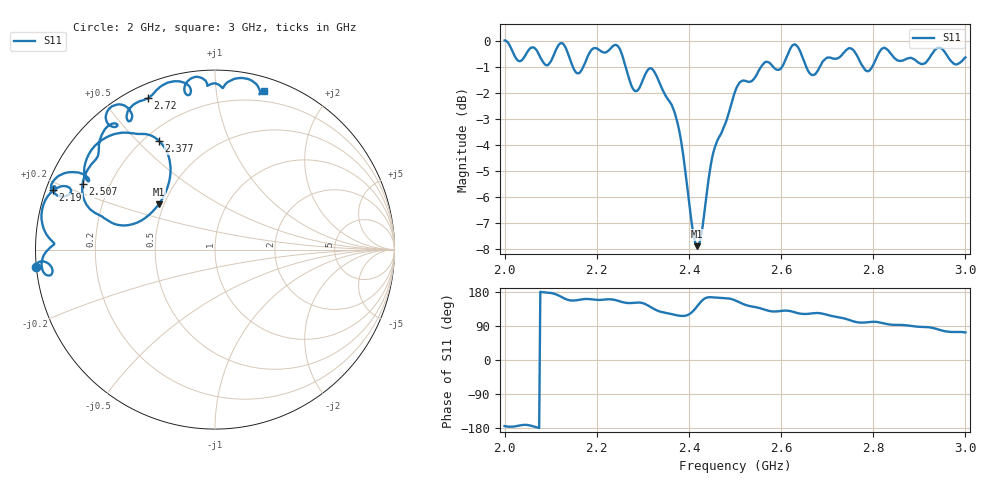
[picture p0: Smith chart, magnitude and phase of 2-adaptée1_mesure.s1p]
! ZVRE, 3.52
! symbol freq-unit parameter-type data-format keyword impedance-ohm
#  HZ  S  RI  R  50
! freq  reS11  imS11
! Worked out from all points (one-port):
!   401 points, 2 GHz to 3 GHz, reference 50 ohm
!   lowest |S11| = -7.9 dB at 2.417 GHz (marker M1), VSWR 2.35, Z = 23.4 + j14.1 ohm
!   |S11| at or under -10 dB: nowhere
!   S11 on the Smith chart (normalised r, x): 2 GHz: -0.00, -0.05; 2.19 GHz: 0.02, +0.18; 2.377 GHz: 0.26, +0.58; 2.507 GHz: 0.10, +0.23; 2.72 GHz: 0.06, +0.65; 3 GHz: 0.11, +1.35
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2e9  -0.9954 -0.0986
2.0525e9  -0.9499 -0.1331
2.105e9  -0.9282 0.0697
2.125e9  -0.9559 0.2507
2.155e9  -0.8023 0.3319
2.19e9  -0.9037 0.3304
2.25e9  -0.8715 0.4109
2.29e9  -0.7087 0.3816
2.31e9  -0.7146 0.5065
2.3325e9  -0.541 0.6477
2.375e9  -0.3236 0.6157
2.3775e9  -0.3113 0.6056
2.3975e9  -0.2472 0.4498
2.4175e9  -0.3132 0.2529
2.4425e9  -0.523 0.135
2.5e9  -0.737 0.3038
2.5075e9  -0.7376 0.3666
2.57e9  -0.5938 0.6895
2.625e9  -0.5965 0.777
2.675e9  -0.4828 0.7158
2.72e9  -0.3722 0.8437
2.75e9  -0.2454 0.9344
2.7875e9  -0.1461 0.8608
2.8225e9  -0.1135 0.9614
2.875e9  -0.0179 0.9244
2.9225e9  0.0616 0.9251
2.96e9  0.2417 0.9047
3e9  0.2749 0.8862
